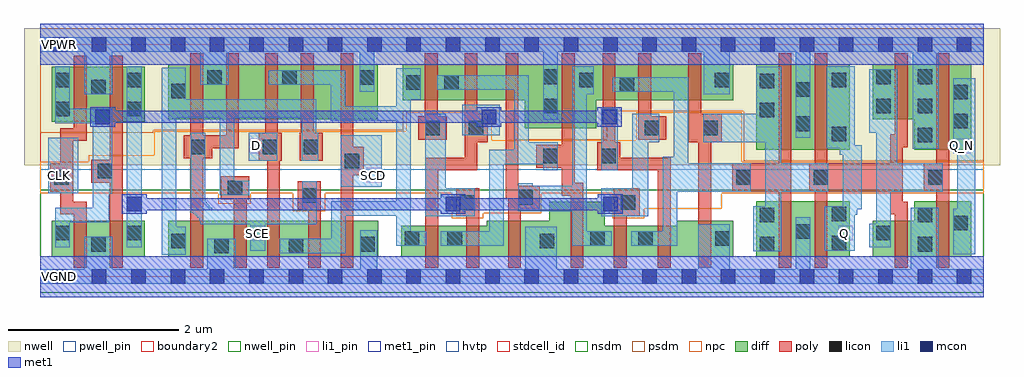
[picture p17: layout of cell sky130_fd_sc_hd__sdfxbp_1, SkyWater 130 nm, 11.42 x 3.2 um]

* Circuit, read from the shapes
.subckt sky130_fd_sc_hd__sdfxbp_1 CLK D Q Q_N SCD SCE VGND VNB VPB VPWR
XM1 VGND CLK n1 VNB sky130_fd_pr__nfet_01v8 w=0.42 l=0.15
XM2 n2 n1 VGND VNB sky130_fd_pr__nfet_01v8 w=0.42 l=0.15
XM3 VGND SCE n3 VNB sky130_fd_pr__nfet_01v8 w=0.42 l=0.15
XM4 n4 n3 VGND VNB sky130_fd_pr__nfet_01v8 w=0.42 l=0.15
XM5 n5 D n4 VNB sky130_fd_pr__nfet_01v8 w=0.42 l=0.15
XM6 n6 SCE n5 VNB sky130_fd_pr__nfet_01v8 w=0.42 l=0.15
XM7 VGND SCD n6 VNB sky130_fd_pr__nfet_01v8 w=0.42 l=0.15
XM8 n7 n1 n5 VNB sky130_fd_pr__nfet_01v8 w=0.36 l=0.15
XM9 n8 n2 n7 VNB sky130_fd_pr__nfet_01v8 w=0.36 l=0.15
XM10 VGND n9 n8 VNB sky130_fd_pr__nfet_01v8 w=0.42 l=0.15
XM11 n9 n7 VGND VNB sky130_fd_pr__nfet_01v8 w=0.64 l=0.15
XM12 n10 n2 n9 VNB sky130_fd_pr__nfet_01v8 w=0.36 l=0.15
XM13 n11 n1 n10 VNB sky130_fd_pr__nfet_01v8 w=0.36 l=0.15
XM14 VGND n12 n11 VNB sky130_fd_pr__nfet_01v8 w=0.42 l=0.15
XM15 VGND n10 n12 VNB sky130_fd_pr__nfet_01v8 w=0.65 l=0.15
XM16 Q n12 VGND VNB sky130_fd_pr__nfet_01v8 w=0.65 l=0.15
XM17 VGND n12 n13 VNB sky130_fd_pr__nfet_01v8 w=0.42 l=0.15
XM18 Q_N n13 VGND VNB sky130_fd_pr__nfet_01v8 w=0.65 l=0.15
XM19 VPWR CLK n1 VPB sky130_fd_pr__pfet_01v8_hvt w=0.64 l=0.15
XM20 n2 n1 VPWR VPB sky130_fd_pr__pfet_01v8_hvt w=0.64 l=0.15
XM21 VPWR SCE n3 VPB sky130_fd_pr__pfet_01v8_hvt w=0.64 l=0.15
XM22 n14 SCE VPWR VPB sky130_fd_pr__pfet_01v8_hvt w=0.64 l=0.15
XM23 n5 D n14 VPB sky130_fd_pr__pfet_01v8_hvt w=0.64 l=0.15
XM24 n15 n3 n5 VPB sky130_fd_pr__pfet_01v8_hvt w=0.64 l=0.15
XM25 VPWR SCD n15 VPB sky130_fd_pr__pfet_01v8_hvt w=0.64 l=0.15
XM26 n7 n2 n5 VPB sky130_fd_pr__pfet_01v8_hvt w=0.42 l=0.15
XM27 n16 n1 n7 VPB sky130_fd_pr__pfet_01v8_hvt w=0.42 l=0.15
XM28 VPWR n9 n16 VPB sky130_fd_pr__pfet_01v8_hvt w=0.42 l=0.15
XM29 n9 n7 VPWR VPB sky130_fd_pr__pfet_01v8_hvt w=0.75 l=0.15
XM30 n10 n1 n9 VPB sky130_fd_pr__pfet_01v8_hvt w=0.42 l=0.15
XM31 n17 n2 n10 VPB sky130_fd_pr__pfet_01v8_hvt w=0.42 l=0.15
XM32 VPWR n12 n17 VPB sky130_fd_pr__pfet_01v8_hvt w=0.42 l=0.15
XM33 VPWR n10 n12 VPB sky130_fd_pr__pfet_01v8_hvt w=1 l=0.15
XM34 Q n12 VPWR VPB sky130_fd_pr__pfet_01v8_hvt w=1 l=0.15
XM35 VPWR n12 n13 VPB sky130_fd_pr__pfet_01v8_hvt w=0.64 l=0.15
XM36 Q_N n13 VPWR VPB sky130_fd_pr__pfet_01v8_hvt w=1 l=0.15
.ends

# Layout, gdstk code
import gdstk
lib = gdstk.Library(unit=1e-6, precision=1e-09)
def R(c, l, rs):  # rectangles x0, y0, x1, y1
    for r in rs: c.add(gdstk.rectangle(r[:2], r[2:], *l))
def A(c, l, x, y, w, h, nx, ny, dx, dy):  # array of equal rectangles
    R(c, l, [(x+i*dx, y+j*dy, x+i*dx+w, y+j*dy+h) for i in range(nx) for j in range(ny)])
def P(c, l, *ps):  # polygons
    for p in ps: c.add(gdstk.Polygon(p, *l))
nwell_pin = (64, 16)
nwell = (64, 20)
diff = (65, 20)
poly = (66, 20)
licon = (66, 44)
li1_pin = (67, 16)
li1 = (67, 20)
mcon = (67, 44)
met1_pin = (68, 16)
met1 = (68, 20)
hvtp = (78, 44)
stdcell_id = (81, 4)
nsdm = (93, 44)
psdm = (94, 20)
npc = (95, 20)
pwell_pin = (122, 16)
boundary2 = (236, 0)

sky130_fd_sc_hd__sdfxbp_ = lib.new_cell('sky130_fd_sc_hd__sdfxbp_1')
R(sky130_fd_sc_hd__sdfxbp_, nwell_pin, [(0.145,2.635,0.315,2.805), (0.145,2.635,0.315,2.805)])
R(sky130_fd_sc_hd__sdfxbp_, nwell, [(-0.19,1.305,11.23,2.91)])
R(sky130_fd_sc_hd__sdfxbp_, diff, [(0.135,0.235,1.225,0.655), (1.495,0.235,3.955,0.655), (8.38,0.235,9.47,0.885), (8.38,1.485,9.47,2.485), (0.135,1.815,1.225,2.455), (1.495,1.845,3.95,2.485)])
P(sky130_fd_sc_hd__sdfxbp_, diff, [(8.11,2.485),(4.24,2.485),(4.24,2.065),(5.67,2.065),(5.67,1.735),(6.505,1.735),(6.505,2.065),(8.11,2.065)],
  [(8.11,0.655),(7.45,0.655),(7.45,0.595),(6.605,0.595),(6.605,0.875),(5.955,0.875),(5.955,0.655),(5.225,0.655),(5.225,0.595),(4.225,0.595),(4.225,0.235),(8.11,0.235)],
  [(10.895,2.485),(9.74,2.485),(9.74,1.845),(10.225,1.845),(10.225,1.485),(10.895,1.485)],
  [(10.895,0.885),(10.225,0.885),(10.225,0.655),(9.74,0.655),(9.74,0.235),(10.895,0.235)])
P(sky130_fd_sc_hd__sdfxbp_, poly, [(0.545,0.88),(0.385,0.88),(0.385,1.59),(0.545,1.59),(0.545,2.585),(0.395,2.585),(0.395,1.74),(0.235,1.74),(0.235,1.325),(0.115,1.325),(0.115,0.995),(0.235,0.995),(0.235,0.73),(0.395,0.73),(0.395,0.105),(0.545,0.105)],
  [(0.965,2.585),(0.815,2.585),(0.815,1.37),(0.595,1.37),(0.595,1.1),(0.815,1.1),(0.815,0.105),(0.965,0.105)],
  [(10.635,2.615),(10.485,2.615),(10.485,1.325),(10.34,1.325),(10.34,0.995),(10.485,0.995),(10.485,0.105),(10.635,0.105)],
  [(2.325,2.615),(2.175,2.615),(2.175,1.655),(1.905,1.655),(1.905,2.615),(1.755,2.615),(1.755,1.655),(1.68,1.655),(1.68,1.385),(1.755,1.385),(1.755,0.105),(1.905,0.105),(1.905,1.385),(2.01,1.385),(2.01,1.505),(2.325,1.505)],
  [(2.445,1.175),(2.115,1.175),(2.115,0.905),(2.265,0.905),(2.265,0.105),(2.415,0.105),(2.415,0.905),(2.445,0.905)],
  [(2.825,1.685),(2.78,1.685),(2.78,2.615),(2.63,2.615),(2.63,1.685),(2.555,1.685),(2.555,1.355),(2.655,1.355),(2.655,0.105),(2.805,0.105),(2.805,1.355),(2.825,1.355)],
  [(3.285,1.115),(3.015,1.115),(3.015,0.785),(3.135,0.785),(3.135,0.105),(3.285,0.105)],
  [(3.305,1.685),(3.2,1.685),(3.2,2.615),(3.05,2.615),(3.05,1.685),(3.035,1.685),(3.035,1.355),(3.305,1.355)],
  [(3.785,1.52),(3.665,1.52),(3.665,2.615),(3.515,2.615),(3.515,0.105),(3.665,0.105),(3.665,1.19),(3.785,1.19)],
  [(4.755,1.875),(4.65,1.875),(4.65,2.615),(4.5,2.615),(4.5,1.875),(4.425,1.875),(4.425,1.605),(4.755,1.605)],
  [(5.135,1.035),(4.865,1.035),(4.865,0.705),(4.985,0.705),(4.985,0.105),(5.135,0.105)],
  [(5.235,1.905),(5.115,1.905),(5.115,2.615),(4.965,2.615),(4.965,1.395),(4.505,1.395),(4.505,0.105),(4.655,0.105),(4.655,1.245),(5.115,1.245),(5.115,1.575),(5.235,1.575)],
  [(5.845,1.065),(5.595,1.065),(5.595,2.615),(5.445,2.615),(5.445,0.915),(5.475,0.915),(5.475,0.105),(5.625,0.105),(5.625,0.795),(5.845,0.795)],
  [(6.355,1.1),(6.255,1.1),(6.255,2.615),(6.105,2.615),(6.105,1.545),(5.805,1.545),(5.805,1.275),(6.105,1.275),(6.105,0.95),(6.205,0.95),(6.205,0.105),(6.355,0.105)],
  [(7.015,1.035),(6.71,1.035),(6.71,0.105),(6.86,0.105),(6.86,0.705),(7.015,0.705)],
  [(7.325,1.875),(7.15,1.875),(7.15,2.615),(7,2.615),(7,1.875),(6.995,1.875),(6.995,1.605),(7.325,1.605)],
  [(7.375,1.395),(6.785,1.395),(6.785,1.575),(6.73,1.575),(6.73,2.615),(6.58,2.615),(6.58,1.575),(6.515,1.575),(6.515,1.245),(7.225,1.245),(7.225,0.105),(7.375,0.105)],
  [(7.975,1.905),(7.735,1.905),(7.735,2.615),(7.585,2.615),(7.585,1.575),(7.7,1.575),(7.7,0.105),(7.85,0.105),(7.85,1.575),(7.975,1.575)],
  [(8.79,2.615),(8.64,2.615),(8.64,1.325),(8.095,1.325),(8.095,0.995),(8.64,0.995),(8.64,0.105),(8.79,0.105)],
  [(10.15,0.88),(10.095,0.88),(10.095,1.515),(10.15,1.515),(10.15,2.615),(10,2.615),(10,1.665),(9.945,1.665),(9.945,1.325),(9.21,1.325),(9.21,2.615),(9.06,2.615),(9.06,1.325),(9,1.325),(9,0.995),(9.06,0.995),(9.06,0.105),(9.21,0.105),(9.21,0.995),(9.945,0.995),(9.945,0.73),(10,0.73),(10,0.105),(10.15,0.105)])
A(sky130_fd_sc_hd__sdfxbp_, licon, 10.265, 1.575, 0.17, 0.17, 1, 3, 0, 0.34)
R(sky130_fd_sc_hd__sdfxbp_, licon, [(2.035,0.275,2.205,0.445), (2.91,0.275,3.08,0.445), (0.595,0.295,0.765,0.465), (3.745,0.295,3.915,0.465), (10.265,0.295,10.435,0.465), (8.42,0.3,8.59,0.47), (9.26,0.31,9.43,0.48), (1.535,0.335,1.705,0.505), (5.845,0.335,6.015,0.505), (4.265,0.365,4.435,0.535), (4.765,0.365,4.935,0.535), (6.435,0.365,6.605,0.535), (6.995,0.365,7.165,0.535), (7.9,0.365,8.07,0.535), (0.175,0.425,0.345,0.595), (1.015,0.425,1.185,0.595), (9.78,0.425,9.95,0.595), (8.84,0.445,9.01,0.615), (10.685,0.545,10.855,0.715), (10.265,0.635,10.435,0.805), (8.42,0.64,8.59,0.81), (9.26,0.65,9.43,0.82), (4.915,0.785,5.085,0.955), (6.795,0.785,6.965,0.955), (5.595,0.845,5.765,1.015), (3.065,0.865,3.235,1.035), (2.195,0.955,2.365,1.125), (0.165,1.075,0.335,1.245), (8.145,1.075,8.315,1.245), (9.05,1.075,9.22,1.245), (10.39,1.075,10.56,1.245), (0.675,1.15,0.845,1.32), (3.565,1.27,3.735,1.44), (5.885,1.325,6.055,1.495), (6.565,1.325,6.735,1.495), (1.76,1.435,1.93,1.605), (2.605,1.435,2.775,1.605), (3.085,1.435,3.255,1.605), (9.26,1.585,9.43,1.755), (4.505,1.655,4.675,1.825), (5.015,1.655,5.185,1.825), (7.075,1.655,7.245,1.825), (7.755,1.655,7.925,1.825), (8.84,1.705,9.01,1.875), (10.685,1.735,10.855,1.905), (8.42,1.865,8.59,2.035), (0.175,1.875,0.345,2.045), (1.015,1.875,1.185,2.045), (5.885,1.915,6.055,2.085), (9.78,1.915,9.95,2.085), (10.685,2.075,10.855,2.245), (1.535,2.09,1.705,2.26), (8.84,2.105,9.01,2.275), (0.595,2.135,0.765,2.305), (6.78,2.165,6.95,2.335), (4.28,2.19,4.45,2.36), (4.725,2.19,4.895,2.36), (8.42,2.205,8.59,2.375), (0.175,2.215,0.345,2.385), (1.015,2.215,1.185,2.385), (6.305,2.215,6.475,2.385), (7.895,2.215,8.065,2.385), (9.26,2.215,9.43,2.385), (1.955,2.245,2.125,2.415), (2.83,2.245,3,2.415), (3.74,2.245,3.91,2.415), (5.885,2.255,6.055,2.425), (9.78,2.255,9.95,2.425)])
R(sky130_fd_sc_hd__sdfxbp_, li1_pin, [(2.455,0.425,2.625,0.595), (9.335,0.425,9.505,0.595), (0.145,1.105,0.315,1.275), (3.815,1.105,3.985,1.275), (2.445,1.445,2.615,1.615), (10.715,1.445,10.885,1.615)])
R(sky130_fd_sc_hd__sdfxbp_, li1, [(1.015,0.345,1.185,2.465), (0.095,0.975,0.445,1.625), (3.515,1.055,3.995,1.655), (6.565,1.245,6.755,1.965), (2.44,1.355,2.775,1.685), (4.935,1.655,5.375,2.01)])
P(sky130_fd_sc_hd__sdfxbp_, li1, [(0.845,1.965),(0.345,1.965),(0.345,2.465),(0.175,2.465),(0.175,1.795),(0.615,1.795),(0.615,0.805),(0.175,0.805),(0.175,0.345),(0.345,0.345),(0.345,0.635),(0.81,0.635),(0.81,0.97),(0.845,0.97)],
  [(3.235,1.115),(3.065,1.115),(3.065,0.785),(2.01,0.785),(2.01,0.81),(1.99,0.81),(1.99,0.82),(1.975,0.82),(1.975,0.835),(1.97,0.835),(1.97,0.84),(1.965,0.84),(1.965,0.85),(1.96,0.85),(1.96,0.855),(1.955,0.855),(1.955,0.86),(1.95,0.86),(1.95,0.87),(1.945,0.87),(1.945,0.875),(1.94,0.875),(1.94,0.88),(1.93,0.88),(1.93,1.685),(1.76,1.685),(1.76,0.75),(1.79,0.75),(1.79,0.735),(1.805,0.735),(1.805,0.725),(1.82,0.725),(1.82,0.715),(1.83,0.715),(1.83,0.705),(1.84,0.705),(1.84,0.69),(1.86,0.69),(1.86,0.655),(1.875,0.655),(1.875,0.615),(2.455,0.615),(2.455,0.305),(2.63,0.305),(2.63,0.615),(3.235,0.615)],
  [(10.56,1.325),(10.03,1.325),(10.03,2.425),(9.7,2.425),(9.7,1.685),(9.78,1.685),(9.78,0.62),(9.7,0.62),(9.7,0.345),(9.95,0.345),(9.95,0.995),(10.56,0.995)],
  [(3.255,1.685),(3.23,1.685),(3.23,2.075),(1.705,2.075),(1.705,2.445),(1.42,2.445),(1.42,0.255),(1.705,0.255),(1.705,0.585),(1.59,0.585),(1.59,1.86),(2.1,1.86),(2.1,0.955),(2.445,0.955),(2.445,1.125),(2.27,1.125),(2.27,1.86),(3.06,1.86),(3.06,1.355),(3.255,1.355)],
  [(4.515,0.535),(4.335,0.535),(4.335,2.07),(4.45,2.07),(4.45,2.44),(4.165,2.44),(4.165,1.995),(3.57,1.995),(3.57,2.415),(2.675,2.415),(2.675,2.245),(3.4,2.245),(3.4,1.825),(4.165,1.825),(4.165,0.885),(3.405,0.885),(3.405,0.445),(2.8,0.445),(2.8,0.275),(3.575,0.275),(3.575,0.715),(4.165,0.715),(4.165,0.365),(4.515,0.365)],
  [(5.085,1.035),(4.745,1.035),(4.745,1.905),(4.505,1.905),(4.505,0.705),(5.085,0.705)],
  [(6.055,1.575),(5.715,1.575),(5.715,2.36),(4.645,2.36),(4.645,2.19),(5.545,2.19),(5.545,1.485),(5.255,1.485),(5.255,0.535),(4.685,0.535),(4.685,0.365),(5.425,0.365),(5.425,1.315),(5.885,1.315),(5.885,1.245),(6.055,1.245)],
  [(6.685,0.535),(6.395,0.535),(6.395,2.135),(6.475,2.135),(6.475,2.465),(6.225,2.465),(6.225,1.065),(5.765,1.065),(5.765,1.095),(5.595,1.095),(5.595,0.765),(6.225,0.765),(6.225,0.365),(6.685,0.365)],
  [(7.245,1.905),(6.925,1.905),(6.925,1.035),(6.565,1.035),(6.565,0.705),(7.115,0.705),(7.115,1.575),(7.245,1.575)],
  [(9.61,1.54),(9.53,1.54),(9.53,2.465),(9.2,2.465),(9.2,1.505),(9.355,1.505),(9.355,1.43),(9.39,1.43),(9.39,0.825),(9.18,0.825),(9.18,0.305),(9.53,0.305),(9.53,0.725),(9.56,0.725),(9.56,0.79),(9.61,0.79)],
  [(11.04,2.805),(0,2.805),(0,2.635),(0.515,2.635),(0.515,2.135),(0.845,2.135),(0.845,2.635),(1.875,2.635),(1.875,2.245),(2.205,2.245),(2.205,2.635),(3.74,2.635),(3.74,2.165),(3.91,2.165),(3.91,2.635),(5.885,2.635),(5.885,1.835),(6.055,1.835),(6.055,2.635),(7.765,2.635),(7.765,2.135),(8.07,2.135),(8.07,2.635),(8.84,2.635),(8.84,1.625),(9.01,1.625),(9.01,2.635),(10.21,2.635),(10.21,1.495),(10.515,1.495),(10.515,2.635),(11.04,2.635)],
  [(10.94,2.325),(10.685,2.325),(10.685,1.445),(10.73,1.445),(10.73,0.795),(10.685,0.795),(10.685,0.265),(10.94,0.265)],
  [(8.315,1.325),(7.585,1.325),(7.585,2.335),(6.7,2.335),(6.7,2.165),(7.415,2.165),(7.415,1.405),(7.285,1.405),(7.285,0.535),(6.915,0.535),(6.915,0.365),(7.455,0.365),(7.455,0.995),(8.315,0.995)],
  [(9.22,1.325),(8.67,1.325),(8.67,2.455),(8.38,2.455),(8.38,1.905),(7.755,1.905),(7.755,1.575),(8.485,1.575),(8.485,0.825),(8.34,0.825),(8.34,0.3),(8.67,0.3),(8.67,0.995),(9.22,0.995)],
  [(11.04,0.085),(10.515,0.085),(10.515,0.805),(10.185,0.805),(10.185,0.085),(9.01,0.085),(9.01,0.695),(8.84,0.695),(8.84,0.085),(8.07,0.085),(8.07,0.615),(7.7,0.615),(7.7,0.085),(6.045,0.085),(6.045,0.585),(5.675,0.585),(5.675,0.085),(3.945,0.085),(3.945,0.545),(3.745,0.545),(3.745,0.085),(2.285,0.085),(2.285,0.445),(1.955,0.445),(1.955,0.085),(0.845,0.085),(0.845,0.465),(0.515,0.465),(0.515,0.085),(0,0.085),(0,-0.085),(11.04,-0.085)])
A(sky130_fd_sc_hd__sdfxbp_, mcon, 0.145, -0.085, 0.17, 0.17, 24, 2, 0.46, 2.72)
R(sky130_fd_sc_hd__sdfxbp_, mcon, [(1.015,0.765,1.185,0.935), (4.745,0.765,4.915,0.935), (6.585,0.765,6.755,0.935), (0.645,1.785,0.815,1.955), (5.165,1.785,5.335,1.955), (6.575,1.785,6.745,1.955)])
R(sky130_fd_sc_hd__sdfxbp_, met1_pin, [(0.145,-0.085,0.315,0.085), (0.145,2.635,0.315,2.805)])
P(sky130_fd_sc_hd__sdfxbp_, met1, [(6.815,0.965),(6.525,0.965),(6.525,0.92),(4.975,0.92),(4.975,0.965),(4.685,0.965),(4.685,0.92),(1.245,0.92),(1.245,0.965),(0.955,0.965),(0.955,0.735),(1.245,0.735),(1.245,0.78),(4.685,0.78),(4.685,0.735),(4.975,0.735),(4.975,0.78),(6.525,0.78),(6.525,0.735),(6.815,0.735)],
  [(6.805,1.985),(6.515,1.985),(6.515,1.94),(5.395,1.94),(5.395,1.985),(5.105,1.985),(5.105,1.94),(0.875,1.94),(0.875,1.985),(0.585,1.985),(0.585,1.755),(0.875,1.755),(0.875,1.8),(5.105,1.8),(5.105,1.755),(5.395,1.755),(5.395,1.8),(6.515,1.8),(6.515,1.755),(6.805,1.755)])
R(sky130_fd_sc_hd__sdfxbp_, hvtp, [(0,1.25,11.04,2.72)])
R(sky130_fd_sc_hd__sdfxbp_, stdcell_id, [(0,0,11.04,2.72)])
R(sky130_fd_sc_hd__sdfxbp_, nsdm, [(0,-0.19,11.04,1.015)])
P(sky130_fd_sc_hd__sdfxbp_, psdm, [(11.04,2.91),(0,2.91),(0,1.685),(1.32,1.685),(1.32,1.715),(4.25,1.715),(4.25,1.935),(5.54,1.935),(5.54,1.605),(6.635,1.605),(6.635,1.935),(8.23,1.935),(8.23,1.355),(11.04,1.355)])
P(sky130_fd_sc_hd__sdfxbp_, npc, [(11.04,1.345),(8.21,1.345),(8.21,1.925),(6.975,1.925),(6.975,1.595),(5.285,1.595),(5.285,1.925),(4.28,1.925),(4.28,1.705),(1.335,1.705),(1.335,1.42),(0.565,1.42),(0.565,1.345),(0,1.345),(0,0.975),(2.085,0.975),(2.085,0.855),(2.465,0.855),(2.465,0.975),(2.955,0.975),(2.955,0.765),(3.335,0.765),(3.335,0.975),(4.815,0.975),(4.815,0.685),(5.185,0.685),(5.185,0.745),(5.865,0.745),(5.865,0.975),(6.695,0.975),(6.695,0.685),(7.065,0.685),(7.065,0.795),(7.975,0.795),(7.975,0.975),(11.04,0.975)])
R(sky130_fd_sc_hd__sdfxbp_, pwell_pin, [(0.145,-0.085,0.315,0.085), (0.145,-0.085,0.315,0.085)])
R(sky130_fd_sc_hd__sdfxbp_, boundary2, [(0,0,11.04,2.72)])
sky130_fd_sc_hd__sdfxbp_.add(gdstk.FlexPath([(0,2.72),(11.04,2.72)], 0.48, ends="flush", simple_path=True, layer=68, datatype=20))  # met1
sky130_fd_sc_hd__sdfxbp_.add(gdstk.FlexPath([(0,0),(11.04,0)], 0.48, ends="flush", simple_path=True, layer=68, datatype=20))  # met1
sky130_fd_sc_hd__sdfxbp_.add(gdstk.Label('VGND', (0.23,0), layer=68, texttype=5))
sky130_fd_sc_hd__sdfxbp_.add(gdstk.Label('VPWR', (0.23,2.72), layer=68, texttype=5))
sky130_fd_sc_hd__sdfxbp_.add(gdstk.Label('SCD', (3.9,1.19), layer=67, texttype=5))
sky130_fd_sc_hd__sdfxbp_.add(gdstk.Label('Q_N', (10.785,1.53), layer=67, texttype=5))
sky130_fd_sc_hd__sdfxbp_.add(gdstk.Label('D', (2.53,1.53), layer=67, texttype=5))
sky130_fd_sc_hd__sdfxbp_.add(gdstk.Label('SCE', (2.54,0.51), layer=67, texttype=5))
sky130_fd_sc_hd__sdfxbp_.add(gdstk.Label('CLK', (0.23,1.19), layer=67, texttype=5))
sky130_fd_sc_hd__sdfxbp_.add(gdstk.Label('Q', (9.405,0.51), layer=67, texttype=5))
sky130_fd_sc_hd__sdfxbp_.add(gdstk.Label('VNB', (0.23,0), layer=64, texttype=59))
sky130_fd_sc_hd__sdfxbp_.add(gdstk.Label('VNB', (0.23,0), layer=64, texttype=59))
sky130_fd_sc_hd__sdfxbp_.add(gdstk.Label('VPB', (0.23,2.72), layer=64, texttype=5))
sky130_fd_sc_hd__sdfxbp_.add(gdstk.Label('VPB', (0.23,2.72), layer=64, texttype=5))
sky130_fd_sc_hd__sdfxbp_.add(gdstk.Label('sdfxbp_1', (0,0), layer=83, texttype=44))

lib.write_gds('sky130_fd_sc_hd__sdfxbp_1.gds')
